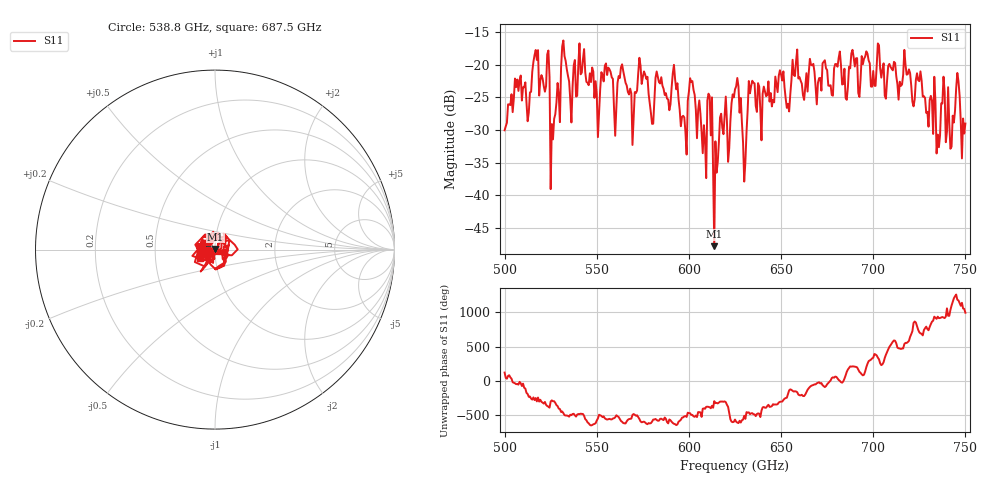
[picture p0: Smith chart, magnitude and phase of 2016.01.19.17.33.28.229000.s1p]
!Created with skrf (http://scikit-rf.org).
# GHz S RI R 50.0
!freq ReS11 ImS11
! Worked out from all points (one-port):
!   401 points, 500 GHz to 750 GHz, reference 50 ohm
!   lowest |S11| = -47.8 dB at 613.8 GHz (marker M1), VSWR 1.01, Z = 50.2 + j0.369 ohm
!   |S11| at or under -10 dB: start of sweep to end of sweep
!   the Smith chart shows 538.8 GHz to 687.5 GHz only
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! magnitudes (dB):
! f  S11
! 500 GHz  -30.1
! 506.9 GHz  -22.3
! 513.1 GHz  -27.3
! 516.9 GHz  -17.7
! 523.1 GHz  -18.4
! 526.2 GHz  -31.4
! 531.2 GHz  -17.2
! 550 GHz  -24.5
! 562.5 GHz  -22.0
! 568.8 GHz  -24.4
! 573.8 GHz  -20.2
! 580 GHz  -29.1
! 583.1 GHz  -21.8
! 593.8 GHz  -22.8
! 597.5 GHz  -28.1
! 601.9 GHz  -22.5
! 608.1 GHz  -29.3
! 611.2 GHz  -24.8
! 613.8 GHz  -47.8
! 625 GHz  -23.8
! 630 GHz  -37.9
! 633.8 GHz  -23.3
! 656.2 GHz  -19.2
! 687.5 GHz  -20.5
! 718.8 GHz  -21.4
! 735 GHz  -30.7
! 745.6 GHz  -21.3
! 750 GHz  -29.0
